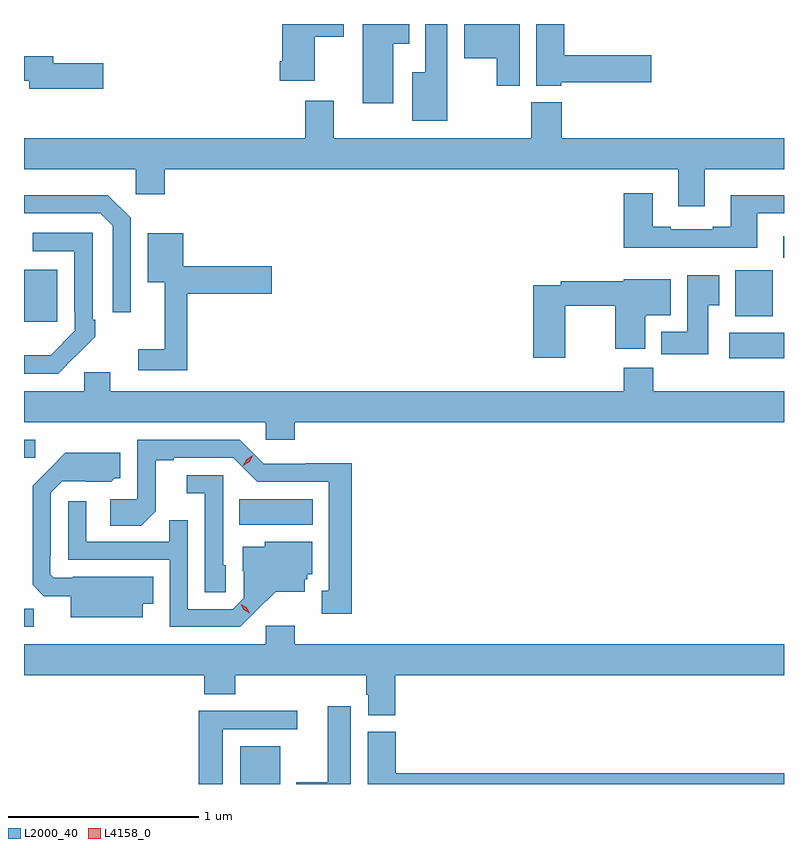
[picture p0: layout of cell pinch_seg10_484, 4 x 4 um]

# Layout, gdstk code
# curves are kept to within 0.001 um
import gdstk
lib = gdstk.Library(unit=1e-6, precision=1e-09)
def R(c, l, rs):  # rectangles x0, y0, x1, y1
    for r in rs: c.add(gdstk.rectangle(r[:2], r[2:], *l))
def P(c, l, *ps):  # polygons
    for p in ps: c.add(gdstk.Polygon(p, *l))
L2000_40 = (2000, 40)
L4158_0 = (4158, 0)

pinch_seg10_484 = lib.new_cell('pinch_seg10_484')
R(pinch_seg10_484, L2000_40, [(218.624,1267.776,218.836,1267.975), (217.487,1268.604,217.539,1268.699), (218.62,1269.14,219.007,1269.274), (217.487,1269.492,217.546,1269.588), (221.199,1270.016,221.487,1270.15), (217.487,1270.209,217.663,1270.483), (221.231,1270.238,221.428,1270.48), (221.483,1270.547,221.487,1270.66)])
P(pinch_seg10_484, L2000_40, [(219.43,1271.672),(219.514,1271.672),(219.514,1271.776),(219.269,1271.776),(219.269,1271.358),(219.43,1271.358)],
  [(220.314,1271.47),(220.789,1271.47),(220.789,1271.612),(220.331,1271.612),(220.331,1271.776),(220.184,1271.776),(220.184,1271.45),(220.314,1271.45)],
  [(219.016,1271.71),(219.169,1271.71),(219.169,1271.776),(218.846,1271.776),(218.846,1271.581),(218.834,1271.581),(218.834,1271.477),(219.016,1271.477)],
  [(220.096,1271.776),(219.803,1271.776),(219.803,1271.597),(219.974,1271.597),(219.974,1271.451),(220.096,1271.451)],
  [(219.715,1271.776),(219.599,1271.776),(219.599,1271.521),(219.53,1271.521),(219.53,1271.267),(219.715,1271.267)],
  [(217.903,1271.57),(217.642,1271.57),(217.642,1271.606),(217.487,1271.606),(217.487,1271.478),(217.514,1271.478),(217.514,1271.435),(217.903,1271.435)],
  [(221.071,1271.012),(221.487,1271.012),(221.487,1271.176),(220.316,1271.176),(220.316,1271.365),(220.156,1271.365),(220.156,1271.176),(219.118,1271.176),(219.118,1271.371),(218.966,1271.371),(218.966,1271.176),(217.487,1271.176),(217.487,1271.012),(218.076,1271.012),(218.076,1270.881),(218.228,1270.881),(218.228,1271.012),(220.931,1271.012),(220.931,1270.818),(221.071,1270.818)],
  [(221.347,1270.779),(221.487,1270.779),(221.487,1270.876),(221.207,1270.876),(221.207,1270.708),(221.111,1270.708),(221.111,1270.695),(220.891,1270.695),(220.891,1270.708),(220.795,1270.708),(220.795,1270.885),(220.643,1270.885),(220.643,1270.598),(221.347,1270.598)],
  [(218.049,1270.755),(217.928,1270.876),(217.487,1270.876),(217.487,1270.779),(217.887,1270.779),(217.953,1270.713),(217.953,1270.26),(218.049,1270.26)],
  [(217.757,1270.027),(217.758,1270.026),(217.863,1270.131),(217.863,1270.219),(217.848,1270.219),(217.848,1270.677),(217.533,1270.677),(217.533,1270.581),(217.752,1270.581),(217.752,1270.261),(217.755,1270.261),(217.755,1270.161),(217.627,1270.033),(217.487,1270.032),(217.487,1269.936),(217.666,1269.936)],
  [(218.345,1270.355),(218.791,1270.355),(218.791,1270.502),(218.326,1270.502),(218.326,1270.675),(218.138,1270.675),(218.138,1270.418),(218.228,1270.418),(218.228,1270.063),(218.088,1270.063),(218.088,1269.954),(218.345,1269.954)],
  [(221.089,1270.297),(221.146,1270.297),(221.146,1270.453),(220.979,1270.453),(220.979,1270.156),(220.841,1270.156),(220.841,1270.038),(221.089,1270.038)],
  [(220.336,1270.293),(220.598,1270.293),(220.598,1270.068),(220.756,1270.068),(220.756,1270.238),(220.762,1270.238),(220.762,1270.244),(220.891,1270.244),(220.891,1270.432),(220.644,1270.432),(220.644,1270.421),(220.312,1270.421),(220.312,1270.401),(220.166,1270.401),(220.166,1270.02),(220.336,1270.02)],
  [(218.912,1269.68),(221.487,1269.68),(221.487,1269.844),(220.799,1269.844),(220.799,1269.968),(220.643,1269.968),(220.643,1269.844),(217.942,1269.844),(217.942,1269.942),(217.803,1269.942),(217.803,1269.844),(217.487,1269.844),(217.487,1269.68),(218.76,1269.68),(218.76,1269.587),(218.912,1269.587)],
  [(219.211,1269.464),(218.97,1269.464),(218.97,1269.462),(218.748,1269.462),(218.622,1269.588),(218.082,1269.588),(218.082,1269.276),(217.941,1269.276),(217.941,1269.136),(218.105,1269.136),(218.181,1269.212),(218.181,1269.48),(218.275,1269.48),(218.275,1269.492),(218.589,1269.492),(218.715,1269.366),(219.092,1269.366),(219.092,1268.793),(219.053,1268.793),(219.053,1268.673),(219.211,1268.673)],
  [(218.113,1268.726),(218.168,1268.726),(218.168,1268.866),(217.744,1268.866),(217.744,1268.862),(217.644,1268.862),(217.626,1268.88),(217.626,1268.98),(217.629,1268.98),(217.629,1269.309),(217.689,1269.369),(217.946,1269.368),(217.962,1269.384),(217.993,1269.384),(217.993,1269.52),(217.705,1269.52),(217.533,1269.346),(217.533,1268.824),(217.592,1268.765),(217.733,1268.765),(217.733,1268.654),(218.113,1268.654)],
  [(218.55,1268.928),(218.535,1268.928),(218.535,1269.402),(218.343,1269.402),(218.343,1269.305),(218.439,1269.305),(218.439,1268.785),(218.55,1268.785)],
  [(218.71,1268.687),(218.813,1268.789),(218.965,1268.789),(218.965,1268.853),(218.979,1268.853),(218.979,1268.88),(219.004,1268.88),(219.004,1269.052),(218.754,1269.052),(218.754,1269.025),(218.639,1269.025),(218.639,1268.896),(218.643,1268.896),(218.643,1268.754),(218.586,1268.697),(218.349,1268.697),(218.349,1269.164),(218.251,1269.164),(218.251,1269.051),(217.815,1269.051),(217.815,1269.265),(217.719,1269.265),(217.719,1268.955),(218.253,1268.955),(218.253,1268.604),(218.626,1268.604)],
  [(219.44,1268.348),(221.487,1268.348),(221.487,1268.512),(218.912,1268.512),(218.912,1268.608),(218.76,1268.608),(218.76,1268.512),(217.487,1268.512),(217.487,1268.348),(218.435,1268.348),(218.435,1268.249),(218.6,1268.249),(218.6,1268.348),(219.287,1268.348),(219.287,1268.247),(219.299,1268.247),(219.299,1268.137),(219.44,1268.137)],
  [(219.208,1268.185),(219.086,1268.185),(219.086,1267.786),(218.921,1267.786),(218.921,1267.776),(219.208,1267.776)],
  [(218.533,1268.064),(218.926,1268.064),(218.926,1268.162),(218.408,1268.162),(218.408,1267.776),(218.533,1267.776)],
  [(221.487,1267.832),(219.443,1267.832),(219.443,1268.052),(219.296,1268.052),(219.296,1267.776),(221.487,1267.776)])
P(pinch_seg10_484, L4158_0, [(218.642,1269.452),(218.642,1269.453),(218.659,1269.485),(218.691,1269.505),(218.691,1269.505),(218.691,1269.504),(218.674,1269.472),(218.642,1269.452)],
  [(218.675,1268.676),(218.644,1268.692),(218.627,1268.722),(218.627,1268.722),(218.628,1268.722),(218.658,1268.706),(218.675,1268.677),(218.675,1268.676)])

lib.write_gds('pinch_seg10_484.gds')
